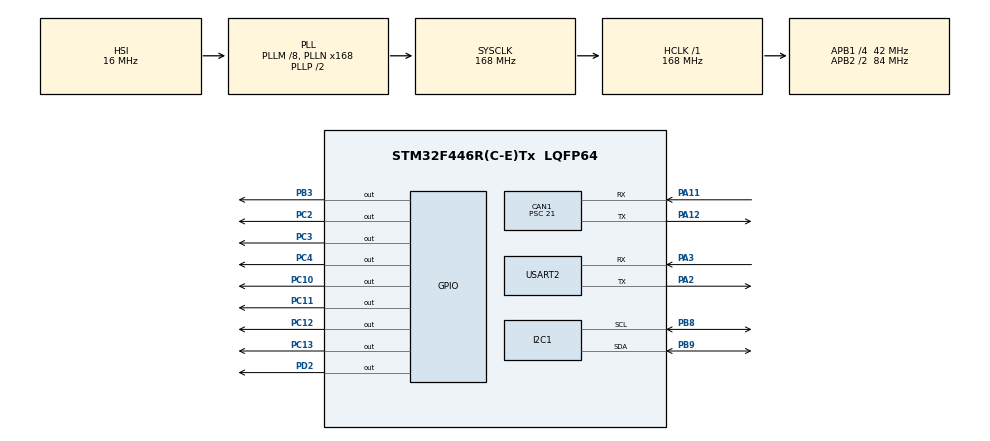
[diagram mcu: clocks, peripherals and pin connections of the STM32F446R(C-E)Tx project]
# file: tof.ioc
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CAN1.AWUM=ENABLE
CAN1.BS1=CAN_BS1_14TQ
CAN1.BS2=CAN_BS2_5TQ
CAN1.CalculateBaudRate=100000
CAN1.CalculateTimeBit=10000
CAN1.CalculateTimeQuantum=500.0
CAN1.NART=ENABLE
CAN1.Prescaler=21
I2C1.I2C_Mode=I2C_Fast
Mcu.Family=STM32F4
Mcu.Name=STM32F446R(C-E)Tx
Mcu.Package=LQFP64
NVIC.CAN1_RX0_IRQn=true\:0\:0\:false\:false\:true\:true\:true\:true
NVIC.CAN1_TX_IRQn=true\:0\:0\:false\:false\:true\:true\:true\:true
NVIC.I2C1_ER_IRQn=true\:0\:0\:false\:false\:true\:true\:true\:true
NVIC.I2C1_EV_IRQn=true\:0\:0\:false\:false\:true\:true\:true\:true
NVIC.PriorityGroup=NVIC_PRIORITYGROUP_4
NVIC.USART2_IRQn=true\:0\:0\:false\:false\:true\:true\:true\:true
PA11.Mode=CAN_Activate
PA11.Signal=CAN1_RX
PA12.Mode=CAN_Activate
PA12.Signal=CAN1_TX
PA2.Mode=Asynchronous
PA2.Signal=USART2_TX
PA3.Mode=Asynchronous
PA3.Signal=USART2_RX
PB3.Signal=GPIO_Output
PB8.Mode=I2C
PB8.Signal=I2C1_SCL
PB9.Mode=I2C
PB9.Signal=I2C1_SDA
PC10.Signal=GPIO_Output
PC11.Signal=GPIO_Output
PC12.Signal=GPIO_Output
PC13.Signal=GPIO_Output
PC14-OSC32_IN.Mode=LSE-External-Oscillator
PC14-OSC32_IN.Signal=RCC_OSC32_IN
PC15-OSC32_OUT.Mode=LSE-External-Oscillator
PC15-OSC32_OUT.Signal=RCC_OSC32_OUT
PC2.Signal=GPIO_Output
PC3.Signal=GPIO_Output
PC4.Signal=GPIO_Output
PD2.Signal=GPIO_Output
PH0-OSC_IN.Mode=HSE-External-Oscillator
PH0-OSC_IN.Signal=RCC_OSC_IN
PH1-OSC_OUT.Mode=HSE-External-Oscillator
PH1-OSC_OUT.Signal=RCC_OSC_OUT
ProjectManager.HeapSize=0x200
ProjectManager.StackSize=0x400
ProjectManager.TargetToolchain=STM32CubeIDE
RCC.AHBFreq_Value=168000000
RCC.APB1CLKDivider=RCC_HCLK_DIV4
RCC.APB1Freq_Value=42000000
RCC.APB1TimFreq_Value=84000000
RCC.APB2CLKDivider=RCC_HCLK_DIV2
RCC.APB2Freq_Value=84000000
RCC.APB2TimFreq_Value=168000000
RCC.CortexFreq_Value=168000000
RCC.HCLKFreq_Value=168000000
RCC.HSE_VALUE=8000000
RCC.PLLM=8
RCC.PLLN=168
RCC.SYSCLKFreq_VALUE=168000000
RCC.SYSCLKSource=RCC_SYSCLKSOURCE_PLLCLK
RCC.USBFreq_Value=168000000
RCC.VCOOutputFreq_Value=336000000
USART2.VirtualMode=VM_ASYNC
board=custom

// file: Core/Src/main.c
/* USER CODE BEGIN Header */
/**
  ******************************************************************************
  * @file           : main.c
  * @brief          : Main program body
  ******************************************************************************
  * @attention
  *
  * Copyright (c) 2022 STMicroelectronics.
  * All rights reserved.
  *
  * This software is licensed under terms that can be found in the LICENSE file
  * in the root directory of this software component.
  * If no LICENSE file comes with this software, it is provided AS-IS.
  *
  ******************************************************************************
  */
/* USER CODE END Header */
#include "main.h"

/* USER CODE BEGIN Includes */
#include "VL53L1X_api.h"
#include <stdio.h>
/* USER CODE END Includes */

CAN_HandleTypeDef hcan1;

I2C_HandleTypeDef hi2c1;

UART_HandleTypeDef huart2;

/* USER CODE BEGIN PV */
uint16_t dev = 0x52;

uint8_t nof = 3;

uint8_t devs[9] = {
		0x54,
		0x56,
		0x58,
		0x5A,
		0x5C,
		0x5E,
		0x60,
		0x62,
		0x64
};

CAN_FilterTypeDef canFilter1;
CAN_RxHeaderTypeDef canRxHeader;
CAN_TxHeaderTypeDef canTxHeader;
uint8_t can1Rx0Data[8];
uint32_t TxMailBox;
uint8_t can1Tx0Data[8];
/* USER CODE END PV */

void SystemClock_Config(void);
static void MX_GPIO_Init(void);
static void MX_I2C1_Init(void);
static void MX_USART2_UART_Init(void);
static void MX_CAN1_Init(void);
/* USER CODE BEGIN PFP */
void TurnOffAll(void);
uint8_t TurnOnAt(uint8_t i);
uint16_t ChangeAddresses(uint8_t num_of_tof);
uint8_t GetAllData(uint8_t num_of_tof, uint16_t dis[num_of_tof]);
void PrintAllData(uint8_t num_of_tof, uint16_t dis[num_of_tof]);
/* USER CODE END PFP */

/* USER CODE BEGIN 0 */
int _write(int file, char* p, int len) {
	HAL_UART_Transmit(&huart2, p, len, 16);
	return len;
}
/* USER CODE END 0 */

int main(void)
{

  /* MCU Configuration--------------------------------------------------------*/

  /* Reset of all peripherals, Initializes the Flash interface and the Systick. */
  HAL_Init();

  /* Configure the system clock */
  SystemClock_Config();

  /* Initialize all configured peripherals */
  MX_GPIO_Init();
  MX_I2C1_Init();
  MX_USART2_UART_Init();
  MX_CAN1_Init();
  /* USER CODE BEGIN 2 */
  canFilter1.FilterMaskIdHigh = 0x7F3 << 5;
  canFilter1.FilterIdHigh = 0x106 << 5;
  canFilter1.FilterMaskIdLow = 0x7F3 << 5;
  canFilter1.FilterIdLow = 0x106 << 5;
  canFilter1.FilterMode = CAN_FILTERMODE_IDMASK;
  canFilter1.FilterScale = CAN_FILTERSCALE_16BIT;
  canFilter1.FilterFIFOAssignment = CAN_FILTER_FIFO0;
  canFilter1.FilterBank = 0;
  canFilter1.FilterActivation = ENABLE;

  HAL_CAN_ConfigFilter(&hcan1, &canFilter1);
  HAL_CAN_ActivateNotification(&hcan1, CAN_IT_RX_FIFO0_MSG_PENDING);
  HAL_CAN_Start(&hcan1);
  /*
  uint8_t sensorState = 0;
  uint8_t boot[6] = {66, 79, 79, 84, 10, 0};
  while(sensorState==0){
		VL53L1X_BootState(dev, &sensorState);
		HAL_UART_Transmit(&huart2, boot, 6, 10);
		HAL_Delay(2);
  }

  VL53L1X_SensorInit(dev);
  //VL53L1X_SetI2CAddress(dev, dev1);
  VL53L1X_StartRanging(dev1);
  */
  uint8_t fail[6] = {70, 65, 73, 76, 10, 0};
  uint8_t succ[6] = {83, 85, 67, 67, 10, 0};
  uint8_t suc = 0;
  if (!(suc = ChangeAddresses(nof))) {
	  HAL_UART_Transmit(&huart2, fail, 6, 10);
  }
  else {
	  HAL_UART_Transmit(&huart2, succ, 6, 10);
  }
  /* USER CODE END 2 */

  /* Infinite loop */
  /* USER CODE BEGIN WHILE */
  uint16_t dis[nof];
  for (int i = 0; i != nof; ++i) dis[i] = 0;
  while (1)
  {
	GetAllData(nof, dis);
	PrintAllData(nof, dis);

	canTxHeader.StdId = 0x102;
	canTxHeader.RTR = CAN_RTR_DATA;
	canTxHeader.IDE = CAN_ID_STD;
	canTxHeader.DLC = 8;

	TxMailBox = HAL_CAN_GetTxMailboxesFreeLevel(&hcan1);
	can1Tx0Data[0] = (0 & 0xFF00) >> 8;
	can1Tx0Data[1] = (0 & 0x00FF);
	can1Tx0Data[2] = (0 & 0xFF00) >> 8;
	can1Tx0Data[3] = (0 & 0x00FF);
	HAL_CAN_AddTxMessage(&hcan1, &canTxHeader, &can1Tx0Data[0], &TxMailBox);
    /* USER CODE END WHILE */

  }
}

void SystemClock_Config(void)
{
  RCC_OscInitTypeDef RCC_OscInitStruct = {0};
  RCC_ClkInitTypeDef RCC_ClkInitStruct = {0};

  /** Configure the main internal regulator output voltage
  */
  __HAL_RCC_PWR_CLK_ENABLE();
  __HAL_PWR_VOLTAGESCALING_CONFIG(PWR_REGULATOR_VOLTAGE_SCALE1);

  /** Initializes the RCC Oscillators according to the specified parameters
  * in the RCC_OscInitTypeDef structure.
  */
  RCC_OscInitStruct.OscillatorType = RCC_OSCILLATORTYPE_HSI;
  RCC_OscInitStruct.HSIState = RCC_HSI_ON;
  RCC_OscInitStruct.HSICalibrationValue = RCC_HSICALIBRATION_DEFAULT;
  RCC_OscInitStruct.PLL.PLLState = RCC_PLL_ON;
  RCC_OscInitStruct.PLL.PLLSource = RCC_PLLSOURCE_HSI;
  RCC_OscInitStruct.PLL.PLLM = 8;
  RCC_OscInitStruct.PLL.PLLN = 168;
  RCC_OscInitStruct.PLL.PLLP = RCC_PLLP_DIV2;
  RCC_OscInitStruct.PLL.PLLQ = 2;
  RCC_OscInitStruct.PLL.PLLR = 2;
  if (HAL_RCC_OscConfig(&RCC_OscInitStruct) != HAL_OK)
  {
    Error_Handler();
  }

  /** Initializes the CPU, AHB and APB buses clocks
  */
  RCC_ClkInitStruct.ClockType = RCC_CLOCKTYPE_HCLK|RCC_CLOCKTYPE_SYSCLK
                              |RCC_CLOCKTYPE_PCLK1|RCC_CLOCKTYPE_PCLK2;
  RCC_ClkInitStruct.SYSCLKSource = RCC_SYSCLKSOURCE_PLLCLK;
  RCC_ClkInitStruct.AHBCLKDivider = RCC_SYSCLK_DIV1;
  RCC_ClkInitStruct.APB1CLKDivider = RCC_HCLK_DIV4;
  RCC_ClkInitStruct.APB2CLKDivider = RCC_HCLK_DIV2;

  if (HAL_RCC_ClockConfig(&RCC_ClkInitStruct, FLASH_LATENCY_5) != HAL_OK)
  {
    Error_Handler();
  }
}

static void MX_CAN1_Init(void)
{

  hcan1.Instance = CAN1;
  hcan1.Init.Prescaler = 21;
  hcan1.Init.Mode = CAN_MODE_NORMAL;
  hcan1.Init.SyncJumpWidth = CAN_SJW_1TQ;
  hcan1.Init.TimeSeg1 = CAN_BS1_14TQ;
  hcan1.Init.TimeSeg2 = CAN_BS2_5TQ;
  hcan1.Init.TimeTriggeredMode = DISABLE;
  hcan1.Init.AutoBusOff = DISABLE;
  hcan1.Init.AutoWakeUp = ENABLE;
  hcan1.Init.AutoRetransmission = ENABLE;
  hcan1.Init.ReceiveFifoLocked = DISABLE;
  hcan1.Init.TransmitFifoPriority = DISABLE;
  if (HAL_CAN_Init(&hcan1) != HAL_OK)
  {
    Error_Handler();
  }

}

static void MX_I2C1_Init(void)
{

  hi2c1.Instance = I2C1;
  hi2c1.Init.ClockSpeed = 400000;
  hi2c1.Init.DutyCycle = I2C_DUTYCYCLE_2;
  hi2c1.Init.OwnAddress1 = 0;
  hi2c1.Init.AddressingMode = I2C_ADDRESSINGMODE_7BIT;
  hi2c1.Init.DualAddressMode = I2C_DUALADDRESS_DISABLE;
  hi2c1.Init.OwnAddress2 = 0;
  hi2c1.Init.GeneralCallMode = I2C_GENERALCALL_DISABLE;
  hi2c1.Init.NoStretchMode = I2C_NOSTRETCH_DISABLE;
  if (HAL_I2C_Init(&hi2c1) != HAL_OK)
  {
    Error_Handler();
  }

}

static void MX_USART2_UART_Init(void)
{

  huart2.Instance = USART2;
  huart2.Init.BaudRate = 115200;
  huart2.Init.WordLength = UART_WORDLENGTH_8B;
  huart2.Init.StopBits = UART_STOPBITS_1;
  huart2.Init.Parity = UART_PARITY_NONE;
  huart2.Init.Mode = UART_MODE_TX_RX;
  huart2.Init.HwFlowCtl = UART_HWCONTROL_NONE;
  huart2.Init.OverSampling = UART_OVERSAMPLING_16;
  if (HAL_UART_Init(&huart2) != HAL_OK)
  {
    Error_Handler();
  }

}

static void MX_GPIO_Init(void)
{
  GPIO_InitTypeDef GPIO_InitStruct = {0};

  /* GPIO Ports Clock Enable */
  __HAL_RCC_GPIOC_CLK_ENABLE();
  __HAL_RCC_GPIOH_CLK_ENABLE();
  __HAL_RCC_GPIOA_CLK_ENABLE();
  __HAL_RCC_GPIOD_CLK_ENABLE();
  __HAL_RCC_GPIOB_CLK_ENABLE();

  /*Configure GPIO pin Output Level */
  HAL_GPIO_WritePin(GPIOC, GPIO_PIN_13|GPIO_PIN_2|GPIO_PIN_3|GPIO_PIN_4
                          |GPIO_PIN_10|GPIO_PIN_11|GPIO_PIN_12, GPIO_PIN_RESET);

  /*Configure GPIO pin Output Level */
  HAL_GPIO_WritePin(GPIOD, GPIO_PIN_2, GPIO_PIN_RESET);

  /*Configure GPIO pin Output Level */
  HAL_GPIO_WritePin(GPIOB, GPIO_PIN_3, GPIO_PIN_RESET);

  /*Configure GPIO pins : PC13 PC2 PC3 PC4
                           PC10 PC11 PC12 */
  GPIO_InitStruct.Pin = GPIO_PIN_13|GPIO_PIN_2|GPIO_PIN_3|GPIO_PIN_4
                          |GPIO_PIN_10|GPIO_PIN_11|GPIO_PIN_12;
  GPIO_InitStruct.Mode = GPIO_MODE_OUTPUT_PP;
  GPIO_InitStruct.Pull = GPIO_NOPULL;
  GPIO_InitStruct.Speed = GPIO_SPEED_FREQ_LOW;
  HAL_GPIO_Init(GPIOC, &GPIO_InitStruct);

  /*Configure GPIO pin : PD2 */
  GPIO_InitStruct.Pin = GPIO_PIN_2;
  GPIO_InitStruct.Mode = GPIO_MODE_OUTPUT_PP;
  GPIO_InitStruct.Pull = GPIO_NOPULL;
  GPIO_InitStruct.Speed = GPIO_SPEED_FREQ_LOW;
  HAL_GPIO_Init(GPIOD, &GPIO_InitStruct);

  /*Configure GPIO pin : PB3 */
  GPIO_InitStruct.Pin = GPIO_PIN_3;
  GPIO_InitStruct.Mode = GPIO_MODE_OUTPUT_PP;
  GPIO_InitStruct.Pull = GPIO_NOPULL;
  GPIO_InitStruct.Speed = GPIO_SPEED_FREQ_LOW;
  HAL_GPIO_Init(GPIOB, &GPIO_InitStruct);

}

/* USER CODE BEGIN 4 */
void TurnOffAll(void) {
	  HAL_GPIO_WritePin(GPIOC, GPIO_PIN_10, GPIO_PIN_RESET);
	  HAL_GPIO_WritePin(GPIOC, GPIO_PIN_11, GPIO_PIN_RESET);
	  HAL_GPIO_WritePin(GPIOC, GPIO_PIN_12, GPIO_PIN_RESET);
	  HAL_GPIO_WritePin(GPIOD, GPIO_PIN_2, GPIO_PIN_RESET);
	  HAL_GPIO_WritePin(GPIOC, GPIO_PIN_13, GPIO_PIN_RESET);
	  HAL_GPIO_WritePin(GPIOC, GPIO_PIN_2, GPIO_PIN_RESET);
	  HAL_GPIO_WritePin(GPIOC, GPIO_PIN_3, GPIO_PIN_RESET);
	  HAL_GPIO_WritePin(GPIOC, GPIO_PIN_4, GPIO_PIN_RESET);
	  HAL_GPIO_WritePin(GPIOB, GPIO_PIN_3, GPIO_PIN_RESET);

	  /*
	  HAL_GPIO_WritePin(GPIOC, GPIO_PIN_13, GPIO_PIN_RESET);
	  HAL_GPIO_WritePin(GPIOC, GPIO_PIN_2, GPIO_PIN_RESET);
	  HAL_GPIO_WritePin(GPIOC, GPIO_PIN_10, GPIO_PIN_RESET);

	  HAL_GPIO_WritePin(GPIOA, GPIO_PIN_14, GPIO_PIN_RESET);
	  HAL_GPIO_WritePin(GPIOA, GPIO_PIN_15, GPIO_PIN_RESET);
	  */
}

uint8_t TurnOnAt(uint8_t i) {
	uint8_t bootState = 0;
	uint8_t boot[7] = {66, 79, 79, 84, 48, 10, 0};
	switch (i) {
	case 0:
		HAL_GPIO_WritePin(GPIOC, GPIO_PIN_10, GPIO_PIN_SET);
		HAL_Delay(10);
		VL53L1X_BootState(dev, &bootState);
		while(bootState==0){
			TurnOffAll();
			HAL_Delay(10);
			HAL_GPIO_WritePin(GPIOC, GPIO_PIN_10, GPIO_PIN_SET);
			HAL_Delay(10);
			VL53L1X_BootState(dev, &bootState);
			HAL_UART_Transmit(&huart2, boot, 7, 10);
			HAL_Delay(2);
		}
		break;
	case 1:
		boot[4] = 49;
		HAL_GPIO_WritePin(GPIOC, GPIO_PIN_11, GPIO_PIN_SET);
		HAL_Delay(10);
		VL53L1X_BootState(dev, &bootState);
		while(bootState==0){
			TurnOffAll();
			HAL_Delay(10);
			HAL_GPIO_WritePin(GPIOC, GPIO_PIN_11, GPIO_PIN_SET);
			HAL_Delay(10);
			VL53L1X_BootState(dev, &bootState);
			HAL_UART_Transmit(&huart2, boot, 7, 10);
			HAL_Delay(2);
		}
		break;
	case 2:
		HAL_GPIO_WritePin(GPIOC, GPIO_PIN_12, GPIO_PIN_SET);
		boot[4] = 50;
		while(bootState==0){
			VL53L1X_BootState(dev, &bootState);
			HAL_UART_Transmit(&huart2, boot, 7, 10);
			HAL_Delay(2);
		}
		break;
	case 3:
		HAL_GPIO_WritePin(GPIOD, GPIO_PIN_2, GPIO_PIN_SET);
		boot[4] = 51;
		while(bootState==0){
			VL53L1X_BootState(dev, &bootState);
			HAL_UART_Transmit(&huart2, boot, 7, 10);
			HAL_Delay(2);
		}
		break;
	case 4:
		HAL_GPIO_WritePin(GPIOC, GPIO_PIN_13, GPIO_PIN_SET);
		boot[4] = 52;
		while(bootState==0){
			VL53L1X_BootState(dev, &bootState);
			HAL_UART_Transmit(&huart2, boot, 7, 10);
			HAL_Delay(2);
		}
		break;
	case 5:
		HAL_GPIO_WritePin(GPIOC, GPIO_PIN_2, GPIO_PIN_SET);
		boot[4] = 53;
		while(bootState==0){
			VL53L1X_BootState(dev, &bootState);
			HAL_UART_Transmit(&huart2, boot, 7, 10);
			HAL_Delay(2);
		}
		break;
	case 6:
		HAL_GPIO_WritePin(GPIOC, GPIO_PIN_3, GPIO_PIN_SET);
		boot[4] = 54;
		while(bootState==0){
			VL53L1X_BootState(dev, &bootState);
			HAL_UART_Transmit(&huart2, boot, 7, 10);
			HAL_Delay(2);
		}
		break;
	case 7:
		HAL_GPIO_WritePin(GPIOC, GPIO_PIN_4, GPIO_PIN_SET);
		boot[4] = 55;
		while(bootState==0){
			VL53L1X_BootState(dev, &bootState);
			HAL_UART_Transmit(&huart2, boot, 7, 10);
			HAL_Delay(2);
		}
		break;
	case 8:
		HAL_GPIO_WritePin(GPIOB, GPIO_PIN_3, GPIO_PIN_SET);
		boot[4] = 56;
		while(bootState==0){
			VL53L1X_BootState(dev, &bootState);
			HAL_UART_Transmit(&huart2, boot, 7, 10);
			HAL_Delay(2);
		}
		break;
	default:
		;
		// shit
	}
	return bootState;
}

uint16_t ChangeAddresses(uint8_t num_of_tof) {
	uint8_t success = 1;
	TurnOffAll();
	HAL_Delay(10);
	for (uint8_t i = 0; i != num_of_tof; ++i) {
		success *= TurnOnAt(i);
		HAL_Delay(5);
		VL53L1X_SensorInit(dev);
		VL53L1X_SetI2CAddress(dev, devs[i]);
		VL53L1X_StartRanging(devs[i]);
	}
	return success;
}

uint8_t GetAllData(uint8_t num_of_tof, uint16_t dis[num_of_tof]) {
	uint8_t success = 1;
	uint8_t dataReady = 0;
	for (uint8_t i = 0; i != num_of_tof; ++i) {
		dataReady = 0;
		while (dataReady == 0){
			VL53L1X_CheckForDataReady(devs[i], &dataReady);
			//HAL_UART_Transmit(&huart2, getting, 6, 10);
			HAL_Delay(2);
		}
		VL53L1X_GetDistance(devs[i], &dis[i]);
		VL53L1X_ClearInterrupt(devs[i]);
	}
	HAL_Delay(50);
}

void PrintAllData(uint8_t num_of_tof, uint16_t dis[num_of_tof]) {
	for (int i = 0; i != num_of_tof; ++i) {
		printf("%d:%d\n", i, dis[i]);
	}
	HAL_Delay(500);
}
/* USER CODE END 4 */

void Error_Handler(void)
{
  __disable_irq();
  while (1)
  {
  }
}
